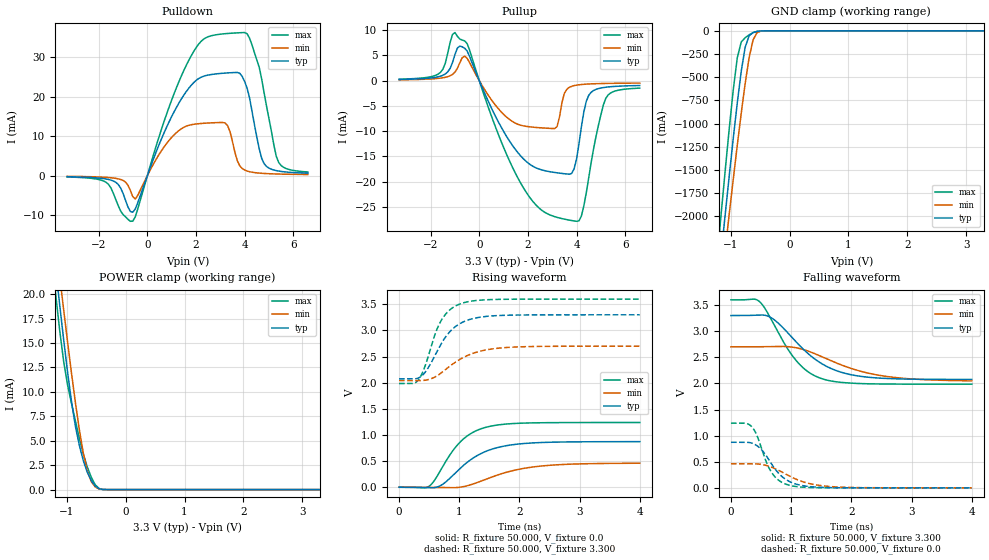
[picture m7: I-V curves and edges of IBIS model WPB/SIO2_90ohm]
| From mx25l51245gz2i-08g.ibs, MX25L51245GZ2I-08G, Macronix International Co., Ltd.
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|   Model WPB/SIO2_90ohm
[Model] WPB/SIO2_90ohm
Model_type I/O
Vinl = 0.8
Vinh = 2.31
Vmeas = 1.65
Vref = 3.3
Cref = 30pF
Rref = 25000
Polarity   Non-Inverting
Enable   Active-High
C_comp   6.106pF   5.527pF   6.812pF
[Temperature Range]   25.000   85.000   -40.000
[Voltage Range]   3.300V   2.700V   3.600V
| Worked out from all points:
|   slope of the pulldown table from 0 to 0.495 V, typ, clamps not added: 61.4 ohm
|   slope of the pullup table from 0 to 0.495 V, typ, clamps not added: 92 ohm
|   GND clamp passes 1 mA (typ) near -0.46 V on its own axis
|   POWER clamp passes 1 mA (typ) near -0.59 V on its own axis
|   rising waveform, R_fixture 50.000, V_fixture 0.0: 20-80 % time 620ps typ, 803ps min, 492ps max; typ from 0 V to 0.873 V
|   rising waveform, R_fixture 50.000, V_fixture 3.300: 20-80 % time 414ps typ, 556ps min, 320ps max; typ from 2.08 V to 3.3 V
|   falling waveform, R_fixture 50.000, V_fixture 3.300: 20-80 % time 725ps typ, 959ps min, 546ps max; typ from 3.3 V to 2.08 V
|   falling waveform, R_fixture 50.000, V_fixture 0.0: 20-80 % time 362ps typ, 539ps min, 269ps max; typ from 0.873 V to 0 V
[Pulldown]
|Voltage   I(typ)   I(min)   I(max)
-3.3V     -268uA     -172uA     -334uA
-1.7V     -843.6uA   -434uA     -1.681mA
-1.2V     -2.216mA   -802.1uA   -7.585mA
-600mV    -9.274mA   -5.328mA   -11.55mA
900mV     13.74mA    9.007mA    17.53mA
1.9V      23.58mA    13.03mA    31.46mA
3.2V      26.02mA    13.35mA    36.02mA
3.9V      25.17mA    1.822mA    36.29mA
4.3V      16.44mA    875.4uA    33.22mA
4.8V      3.051mA    556.6uA    21.01mA
5.4V      1.162mA    408.1uA    3.346mA
6.6V      629.4uA    290.7uA    936.8uA
[Pullup]
|Voltage   I(typ)   I(min)   I(max)
-3.3V     231.6uA    164.3uA    288.8uA
-1.6V     882.7uA    501.6uA    1.625mA
-1V       5.176mA    1.691mA    9.532mA
-600mV    6.423mA    4.845mA    7.882mA
800mV     -8.312mA   -5.646mA   -10.85mA
1.9V      -15.88mA   -9.035mA   -21.89mA
3.1V      -18.2mA    -9.481mA   -26.95mA
3.5V      -18.44mA   -2.495mA   -27.45mA
4V        -15.54mA   -885.2uA   -27.87mA
4.4V      -4.082mA   -688uA     -22.2mA
5.2V      -1.302mA   -552uA     -3.521mA
6.6V      -966uA     -479uA     -1.48mA
[GND_clamp]
|Voltage   I(typ)   I(min)   I(max)
-3.3V     -16.26A    -15.31A    -17.41A
-1.223V   -2.788A    -3.096A    -2.396A
-1.156V   -2.368A    -2.714A    -1.932A
-1.089V   -1.954A    -2.335A    -1.477A
-1.022V   -1.548A    -1.961A    -1.039A
-888mV    -776.8mA   -1.234A    -291.6mA
-821mV    -437.7mA   -889.2mA   -120.5mA
-754mV    -177.1mA   -568mA     -74.43mA
-620mV    -19.02mA   -98.47mA   -20.06mA
-553mV    -6.733mA   -19.87mA   -6.465mA
-419mV    -211.5uA   -407.9uA   -100.1uA
3.3V      0A         0A         0A
[POWER_clamp]
|Voltage   I(typ)   I(min)   I(max)
-3.266V   146mA      139.2mA    154.6mA
-1.189V   22.58mA    25.31mA    19.95mA
-1.122V   18.93mA    21.85mA    16.32mA
-1.055V   15.39mA    18.45mA    13.16mA
-921mV    9.001mA    11.93mA    8.823mA
-854mV    6.475mA    8.882mA    7.037mA
-787mV    4.516mA    6.099mA    5.219mA
-720mV    2.958mA    3.727mA    3.621mA
-653mV    1.778mA    1.943mA    2.338mA
-586mV    943.4uA    826.9uA    1.274mA
-452mV    87.64uA    64.62uA    107.4uA
3.3V      0A         0A         0A
[Ramp]
| variable   typ   min   max
dV/dt_r   0.524/0.623n   0.276/0.807n   0.743/0.497n
dV/dt_f   0.735/0.731n   0.391/0.962n   0.969/0.551n
R_load = 50.000
[Rising Waveform]
R_fixture= 50.000
V_fixture= 0.0
V_fixture_min= 0.0
V_fixture_max= 0.0
|time   V(typ)   V(min)   V(max)
0s        2.034uV    2.032uV    1.934uV
499ps     -10.33mV   -2.142mV   18.57mV
708ps     43.66mV    -6.78mV    359.4mV
868ps     197.6mV    -9.83mV    658mV
1.008ns   353.3mV    317.9uV    856.7mV
1.208ns   540.9mV    54.02mV    1.038V
1.438ns   684.7mV    151.3mV    1.146V
1.808ns   800.6mV    294.4mV    1.212V
2.348ns   855.4mV    404.6mV    1.235V
4ns       872.8mV    459.8mV    1.239V
[Rising Waveform]
R_fixture= 50.000
V_fixture= 3.300
V_fixture_min= 2.700
V_fixture_max= 3.600
|time   V(typ)   V(min)   V(max)
0s        2.075V     2.043V     1.985V
319ps     2.09V      2.041V     2.05V
458ps     2.239V     2.053V     2.404V
598ps     2.523V     2.11V      2.926V
689ps     2.72V      2.177V     3.167V
838ps     2.969V     2.312V     3.388V
1.028ns   3.142V     2.459V     3.514V
1.348ns   3.255V     2.604V     3.581V
1.768ns   3.291V     2.673V     3.597V
4ns       3.3V       2.7V       3.6V
[Falling Waveform]
R_fixture= 50.000
V_fixture= 3.300
V_fixture_min= 2.700
V_fixture_max= 3.600
|time   V(typ)   V(min)   V(max)
0s        3.3V       2.7V       3.6V
389ps     3.306V     2.701V     3.614V
475ps     3.312V     2.702V     3.566V
708ps     3.228V     2.708V     3.142V
1.06ns    2.824V     2.688V     2.472V
1.26ns    2.593V     2.628V     2.241V
1.488ns   2.393V     2.523V     2.099V
1.9ns     2.192V     2.325V     2.013V
2.478ns   2.101V     2.152V     1.989V
4ns       2.076V     2.049V     1.985V
[Falling Waveform]
R_fixture= 50.000
V_fixture= 0.0
V_fixture_min= 0.0
V_fixture_max= 0.0
|time   V(typ)   V(min)   V(max)
0s        873.3mV    461.6mV    1.239V
350ps     856.3mV    462.5mV    1.165V
420ps     817.6mV    459.7mV    1.034V
505ps     734.6mV    449.3mV    765.4mV
670ps     465.9mV    397.8mV    304.7mV
800ps     269mV      331mV      139.2mV
964ps     125.7mV    231.1mV    51.58mV
1.288ns   26.77mV    86.7mV     7.86mV
1.69ns    4.313mV    22.13mV    1.249mV
4ns       184.5uV    110.9uV    261uV
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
